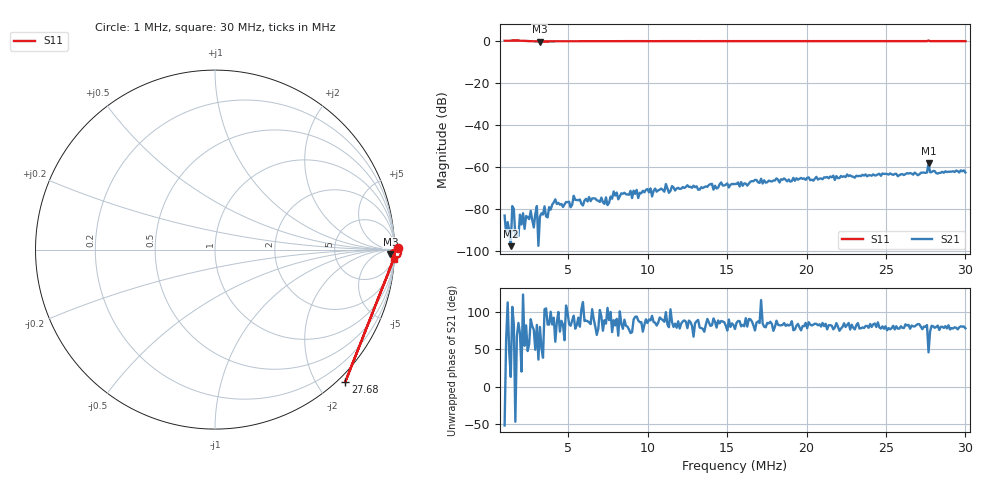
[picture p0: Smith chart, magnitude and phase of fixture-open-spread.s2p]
!File created by NanoVNA-F V2
# Hz S RI R 50
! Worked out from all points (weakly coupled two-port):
!   301 points, 1 MHz to 30 MHz, reference 50 ohm
!   highest |S21| = -58.12 dB at 27.68 MHz (marker M1); lowest = -97.5 dB at 1.387 MHz (marker M2)
!   lowest |S11| = -0.2 dB at 3.223 MHz (marker M3), VSWR 86.72, Z = 1.92e+03 - j2.15e+03 ohm
!   |S11| at or under -10 dB: nowhere
!   S12 and S22 are empty: the file has one direction only
!   S11 on the Smith chart (normalised r, x): 1 MHz: -83, +25; 27.68 MHz: -0.11, -2.38; 30 MHz: 1, -38
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1000000  1.022 0.00668  4.4e-05 -5.6e-05  0 0  0 0
1386664  1.032 -0.00493  1.3e-05 3e-06  0 0  0 0
3223318  0.9769 -0.0253  1.2e-05 6.6e-05  0 0  0 0
3899980  0.98 -0.0121  -1.7e-05 9.7e-05  0 0  0 0
4189978  0.9849 -0.0074  8.7e-05 0.00015  0 0  0 0
5156638  0.9898 -0.00636  1.7e-05 0.000111  0 0  0 0
5349970  0.9915 -0.00788  -1.7e-05 0.00021  0 0  0 0
5833300  0.994 -0.00856  -3.1e-05 0.000132  0 0  0 0
6316630  0.9952 -0.00858  1.5e-05 0.000196  0 0  0 0
7283290  0.9958 -0.00923  3e-06 0.000135  0 0  0 0
7379956  0.9962 -0.0109  2e-05 0.000192  0 0  0 0
7476622  0.9958 -0.0112  -3.3e-05 0.000122  0 0  0 0
7863286  0.9972 -0.0121  6e-06 0.000266  0 0  0 0
8153284  0.9971 -0.0137  6.5e-05 0.000161  0 0  0 0
1.06666e7  0.9986 -0.0182  2.4e-05 0.000282  0 0  0 0
1.54999e7  0.9988 -0.027  9.1e-05 0.00039  0 0  0 0
2.03332e7  0.9978 -0.0354  7.4e-05 0.000503  0 0  0 0
2.51665e7  0.9986 -0.042  0.000138 0.000657  0 0  0 0
2.758315e7  0.9977 -0.0497  0.000102 0.000746  0 0  0 0
2.767982e7  0.7259 -0.737  0.000867 0.000889  0 0  0 0
2.777648e7  0.9965 -0.0479  0.000217 0.00073  0 0  0 0
2.99998e7  0.9974 -0.0528  0.000158 0.000736  0 0  0 0
